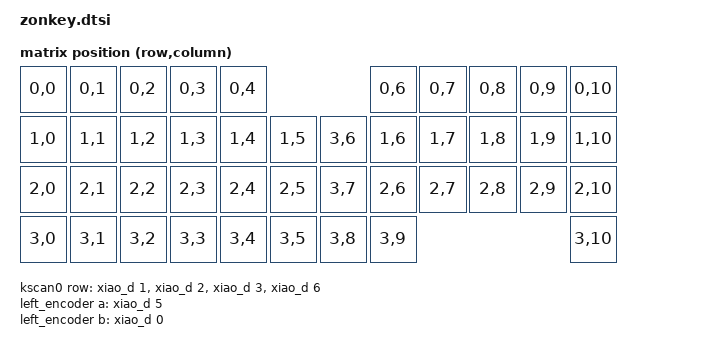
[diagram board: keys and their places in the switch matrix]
/*
 * Copyright (c) 2020 Pete Johanson
 *
 * SPDX-License-Identifier: MIT
 */

#include <dt-bindings/zmk/matrix_transform.h>

#include <kureyakey/zonkey.dtsi>

/ {
    chosen {
        zephyr,display = &oled;
        zmk,kscan = &kscan0;
        zmk,physical-layout = &kureyakey_zonkey_layout;
    };

    default_transform: keymap_transform_0 {
        compatible = "zmk,matrix-transform";
        columns = <11>;
        rows = <4>;               
        map = <
            RC(0,0) RC(0,1) RC(0,2) RC(0,3) RC(0,4)                     RC(0,6) RC(0,7) RC(0,8) RC(0,9) RC(0,10)
            RC(1,0) RC(1,1) RC(1,2) RC(1,3) RC(1,4) RC(1,5)     RC(3,6) RC(1,6) RC(1,7) RC(1,8) RC(1,9) RC(1,10)
            RC(2,0) RC(2,1) RC(2,2) RC(2,3) RC(2,4) RC(2,5)     RC(3,7) RC(2,6) RC(2,7) RC(2,8) RC(2,9) RC(2,10)
            RC(3,0) RC(3,1) RC(3,2) RC(3,3) RC(3,4) RC(3,5)     RC(3,8) RC(3,9)                         RC(3,10)         
        >;
    };

    kscan0: kscan {
        compatible = "zmk,kscan-gpio-matrix";
        label = "KSCAN";
        diode-direction = "col2row";
            row-gpios
                = <&xiao_d 1 (GPIO_ACTIVE_HIGH | GPIO_PULL_DOWN)> 
                , <&xiao_d 2 (GPIO_ACTIVE_HIGH | GPIO_PULL_DOWN)> 
                , <&xiao_d 3 (GPIO_ACTIVE_HIGH | GPIO_PULL_DOWN)> 
                , <&xiao_d 6 (GPIO_ACTIVE_HIGH | GPIO_PULL_DOWN)> 			
                ;
    };

    left_encoder: encoder_left {
        compatible = "alps,ec11";
        a-gpios = <&xiao_d 5 (GPIO_ACTIVE_HIGH | GPIO_PULL_UP)>;
        b-gpios = <&xiao_d 0 (GPIO_ACTIVE_HIGH | GPIO_PULL_UP)>;
        steps = <24>;
        status = "disabled";
    };

    right_encoder: encoder_right {
        status = "disabled";
    };

    sensors: sensors {
        compatible = "zmk,keymap-sensors";
        sensors = <&left_encoder &right_encoder>;
        triggers-per-rotation = <10>;
    };
};

&kureyakey_zonkey_layout {
    transform = <&default_transform>;
};

&i2c1 {
    status = "okay";
    compatible = "nordic,nrf-twi";
    pinctrl-0 = <&i2c1_default>;
    pinctrl-1 = <&i2c1_sleep>;
    pinctrl-names = "default", "sleep";

    clock-frequency = <100000>;
    oled: ssd1306@3c {
        compatible = "solomon,ssd1306fb";
        reg = <0x3c>;
        width = <128>;
        height = <32>;
        segment-offset = <0>;
        page-offset = <0>;
        display-offset = <0>;
        multiplex-ratio = <31>;
        com-sequential;
        inversion-on;
        prechargep = <0x22>;
    };
};
